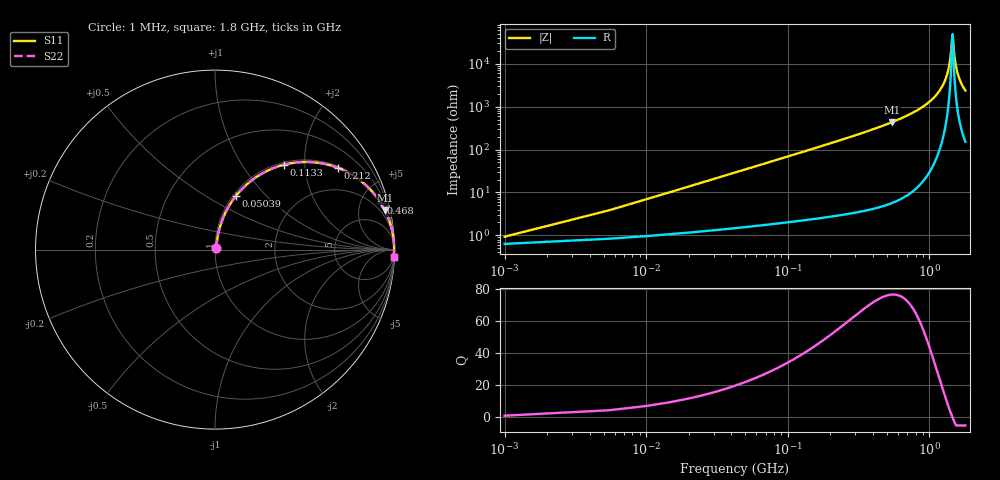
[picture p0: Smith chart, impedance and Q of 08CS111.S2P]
! Coilcraft 0805CS-111 Chip Inductor
! 11 June 2002
# MHZ S MA R 50
!Freq  MagS11  AngS11  MagS21  AngS21  MagS12  AngS12  MagS22  AngS22
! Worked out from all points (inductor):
!   402 points, 1 MHz to 1.8 GHz, reference 50 ohm
!   read as one part in series: L = 109 nH near 9.98 MHz
!   highest Q = 76.6 at 544.3 MHz (marker M1), where L = 127 nH
!   self-resonance near 1.46 GHz
!   S11 on the Smith chart (normalised r, x): 1 MHz: 1.01, +0.01; 50.39 MHz: 1.03, +0.69; 113.2 MHz: 1.04, +1.56; 212 MHz: 1.06, +2.97; 468 MHz: 1.10, +7.14; 1.8 GHz: 4, -47
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1  0.00926 46.9  0.9937 -0.4  0.9937 -0.4  0.00926 46.9
14.47  0.09816 78.3  0.9848 -5.6  0.9848 -5.6  0.09816 78.3
18.96  0.1279 77.7  0.9807 -7.3  0.9807 -7.3  0.1279 77.7
32.43  0.2146 74.2  0.9638 -12.4  0.9638 -12.4  0.2146 74.2
50.39  0.3224 68.6  0.9322 -18.8  0.9322 -18.8  0.3224 68.6
113.25  0.6074 51.1  0.7781 -37.4  0.7781 -37.4  0.6074 51.1
212.03  0.8221 33.6  0.5541 -55.3  0.5541 -55.3  0.8221 33.6
301.83  0.9021 24.7  0.4177 -64.4  0.4177 -64.4  0.9021 24.7
467.96  0.9597 15.6  0.2687 -73.7  0.2687 -73.7  0.9597 15.6
544.29  0.9716 13.0  0.2244 -76.3  0.2244 -76.3  0.9716 13.0
602.66  0.9779 11.3  0.1966 -77.9  0.1966 -77.9  0.9779 11.3
903.49  0.9933 5.7  0.09907 -83.3  0.09907 -83.3  0.9933 5.7
1204.32  0.9975 2.2  0.03871 -85.1  0.03871 -85.1  0.9975 2.2
1303.1  0.9979 1.3  0.02285 -84.0  0.02285 -84.0  0.9979 1.3
1370.45  0.998 0.7  0.01283 -80.5  0.01283 -80.5  0.998 0.7
1415.35  0.998 0.4  0.006553 -71.7  0.006553 -71.7  0.998 0.4
1455.76  0.9979 0.0  0.00216 -16.6  0.00216 -16.6  0.9979 0.0
1469.23  0.9979 -0.1  0.002419 30.2  0.002419 30.2  0.9979 -0.1
1500.66  0.9978 -0.3  0.005847 68.3  0.005847 68.3  0.9978 -0.3
1541.07  0.9977 -0.6  0.01097 77.8  0.01097 77.8  0.9977 -0.6
1603.93  0.9975 -1.1  0.01888 81.9  0.01888 81.9  0.9975 -1.1
1800  0.9964 -2.4  0.04205 83.9  0.04205 83.9  0.9964 -2.4
